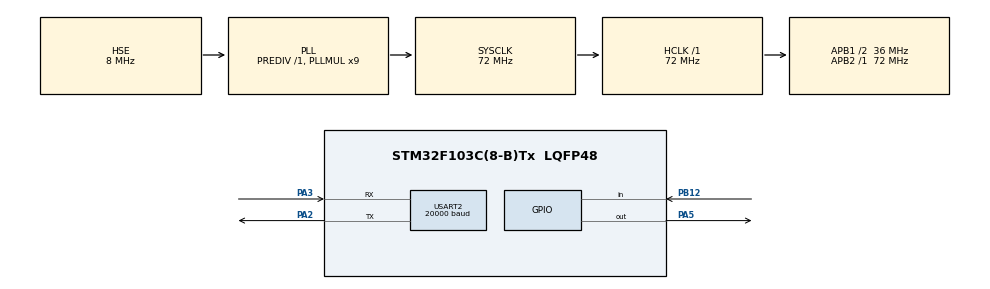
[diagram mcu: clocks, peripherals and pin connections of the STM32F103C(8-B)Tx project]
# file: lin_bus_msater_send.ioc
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Mcu.Family=STM32F1
Mcu.Name=STM32F103C(8-B)Tx
Mcu.Package=LQFP48
NVIC.PriorityGroup=NVIC_PRIORITYGROUP_4
PA13.Mode=Serial_Wire
PA13.Signal=SYS_JTMS-SWDIO
PA14.Mode=Serial_Wire
PA14.Signal=SYS_JTCK-SWCLK
PA2.Mode=LIN
PA2.Signal=USART2_TX
PA3.Mode=LIN
PA3.Signal=USART2_RX
PA5.Signal=GPIO_Output
PB12.Signal=GPIO_Input
PD0-OSC_IN.Mode=HSE-External-Oscillator
PD0-OSC_IN.Signal=RCC_OSC_IN
PD1-OSC_OUT.Mode=HSE-External-Oscillator
PD1-OSC_OUT.Signal=RCC_OSC_OUT
ProjectManager.HeapSize=0x200
ProjectManager.StackSize=0x400
ProjectManager.TargetToolchain=STM32CubeIDE
RCC.AHBFreq_Value=72000000
RCC.APB1CLKDivider=RCC_HCLK_DIV2
RCC.APB1Freq_Value=36000000
RCC.APB1TimFreq_Value=72000000
RCC.APB2Freq_Value=72000000
RCC.APB2TimFreq_Value=72000000
RCC.HCLKFreq_Value=72000000
RCC.PLLMUL=RCC_PLL_MUL9
RCC.PLLSourceVirtual=RCC_PLLSOURCE_HSE
RCC.SYSCLKFreq_VALUE=72000000
RCC.SYSCLKSource=RCC_SYSCLKSOURCE_PLLCLK
RCC.USBFreq_Value=72000000
USART2.BaudRate=20000
USART2.VirtualMode=VM_ASYNC
board=custom

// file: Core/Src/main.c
/* USER CODE BEGIN Header */
/**
  ******************************************************************************
  * @file           : main.c
  * @brief          : Main program body
  ******************************************************************************
  * @attention
  *
  * Copyright (c) 2023 STMicroelectronics.
  * All rights reserved.
  *
  * This software is licensed under terms that can be found in the LICENSE file
  * in the root directory of this software component.
  * If no LICENSE file comes with this software, it is provided AS-IS.
  *
  ******************************************************************************
  */
/* USER CODE END Header */
#include "main.h"

UART_HandleTypeDef huart2;

void SystemClock_Config(void);
static void MX_GPIO_Init(void);
static void MX_USART2_UART_Init(void);

/* USER CODE BEGIN 0 */

#define OPEN_LIN_MAX_FRAME_LENGTH 0x8u
#define OPEN_LIN_SYNCH_BYTE 0x55u
#define OPEN_LIN_GET_PID_BIT(x,y) (((x) >> (y)) & 0x01u)
#define OPEN_LIN_ID_MASK 0x3Fu
#define OPEN_LIN_P0_FLAG 6
#define OPEN_LIN_P1_FLAG 7

#define OPEN_LIN_DIAG_REQUEST 0x3C
#define OPEN_LIN_DIAG_RESPONSE 0x3D

typedef uint8_t open_lin_pid_t;
typedef uint8_t open_lin_checksum_t;
open_lin_pid_t open_lin_data_layer_parity(open_lin_pid_t pid) {
	open_lin_pid_t result = 0;
	result = (open_lin_pid_t)(OPEN_LIN_GET_PID_BIT(pid,0) ^ OPEN_LIN_GET_PID_BIT(pid,1) ^
			 OPEN_LIN_GET_PID_BIT(pid,2) ^ OPEN_LIN_GET_PID_BIT(pid,4)) << OPEN_LIN_P0_FLAG;

    result |= (open_lin_pid_t)(~(OPEN_LIN_GET_PID_BIT(pid,1) ^ OPEN_LIN_GET_PID_BIT(pid,3) ^
    			  OPEN_LIN_GET_PID_BIT(pid,4) ^ OPEN_LIN_GET_PID_BIT(pid,5)) << OPEN_LIN_P1_FLAG);

    result |= (open_lin_pid_t)(OPEN_LIN_ID_MASK & pid);
    return result;
}

open_lin_checksum_t open_lin_data_layer_checksum(open_lin_pid_t pid, uint8_t lenght, const uint8_t* data_ptr)
{
	uint8_t i = 0;
	uint16_t result;

	/* diagnostic request have classic checksum */
	if ((pid == OPEN_LIN_DIAG_REQUEST) || (pid == OPEN_LIN_DIAG_RESPONSE))
	{
		result = 0;
	} else {
		result = open_lin_data_layer_parity(pid);
	}

	for (i = 0; i < lenght; i++)
	{
		result += data_ptr[i];
		if (result > 0xFF)
		{
			result -= 0xFF;
		} else
		{
			/* do nothing */
		}
	}
	return (open_lin_checksum_t)(~result);
}

uint8_t open_lin_hw_tx_byte(uint8_t byte)
{
	HAL_UART_Transmit(&huart2, &byte, 1, 0xffff);
    return 1;

}

uint8_t open_lin_master_data_tx_data(uint8_t pid, uint8_t *data_ptr, uint8_t data_length)
{
	uint8_t i = 0;
	uint8_t result = 1;
	for (i = 0; i < data_length; i++)
	{
		result = (open_lin_hw_tx_byte(data_ptr[i])) && result;
	}

	result = (open_lin_hw_tx_byte(open_lin_data_layer_checksum(pid, data_length, data_ptr))) && result;
	return result;
}
/* USER CODE END 0 */

int main(void)
{
  /* USER CODE BEGIN 1 */
	uint32_t tm=0;
	uint8_t old_sw4=0;
	uint8_t sw4_cnt=0;
	uint8_t tmp=0;

	uint8_t sync = 0x55;
	uint8_t datas[5] = {0x11, 0x12, 0x13, 0x14, 0x15};

  /* USER CODE END 1 */

  /* MCU Configuration--------------------------------------------------------*/

  /* Reset of all peripherals, Initializes the Flash interface and the Systick. */
  HAL_Init();

  /* Configure the system clock */
  SystemClock_Config();

  /* Initialize all configured peripherals */
  MX_GPIO_Init();
  MX_USART2_UART_Init();
  /* USER CODE BEGIN 2 */
  HAL_GPIO_WritePin(GPIOA, GPIO_PIN_5, GPIO_PIN_SET);

  /* USER CODE END 2 */

  /* Infinite loop */
  /* USER CODE BEGIN WHILE */
  while (1)
  {
	  if(HAL_GetTick() - tm >= 10) {
		  tm = HAL_GetTick();
		  tmp = HAL_GPIO_ReadPin(GPIOB, GPIO_PIN_12);
		  if(old_sw4 != tmp) {
			  old_sw4 = tmp;
			  sw4_cnt = 3;
		  } else {
			  if(sw4_cnt) {
				  sw4_cnt--;
				  if(sw4_cnt == 0) {
					  //changed! and pushed
					  if(tmp == 0) {
						  HAL_LIN_SendBreak(&huart2);
						  HAL_UART_Transmit(&huart2, &sync, 1, 0xffff);
						  tmp = open_lin_data_layer_parity(0x02);
						  HAL_UART_Transmit(&huart2, &tmp, 1, 0xffff);
						  open_lin_master_data_tx_data(0x02, datas, 5);
					  }
				  }
			  }

		  }
	  }
    /* USER CODE END WHILE */

  }
}

void SystemClock_Config(void)
{
  RCC_OscInitTypeDef RCC_OscInitStruct = {0};
  RCC_ClkInitTypeDef RCC_ClkInitStruct = {0};

  /** Initializes the RCC Oscillators according to the specified parameters
  * in the RCC_OscInitTypeDef structure.
  */
  RCC_OscInitStruct.OscillatorType = RCC_OSCILLATORTYPE_HSE;
  RCC_OscInitStruct.HSEState = RCC_HSE_ON;
  RCC_OscInitStruct.HSEPredivValue = RCC_HSE_PREDIV_DIV1;
  RCC_OscInitStruct.HSIState = RCC_HSI_ON;
  RCC_OscInitStruct.PLL.PLLState = RCC_PLL_ON;
  RCC_OscInitStruct.PLL.PLLSource = RCC_PLLSOURCE_HSE;
  RCC_OscInitStruct.PLL.PLLMUL = RCC_PLL_MUL9;
  if (HAL_RCC_OscConfig(&RCC_OscInitStruct) != HAL_OK)
  {
    Error_Handler();
  }

  /** Initializes the CPU, AHB and APB buses clocks
  */
  RCC_ClkInitStruct.ClockType = RCC_CLOCKTYPE_HCLK|RCC_CLOCKTYPE_SYSCLK
                              |RCC_CLOCKTYPE_PCLK1|RCC_CLOCKTYPE_PCLK2;
  RCC_ClkInitStruct.SYSCLKSource = RCC_SYSCLKSOURCE_PLLCLK;
  RCC_ClkInitStruct.AHBCLKDivider = RCC_SYSCLK_DIV1;
  RCC_ClkInitStruct.APB1CLKDivider = RCC_HCLK_DIV2;
  RCC_ClkInitStruct.APB2CLKDivider = RCC_HCLK_DIV1;

  if (HAL_RCC_ClockConfig(&RCC_ClkInitStruct, FLASH_LATENCY_2) != HAL_OK)
  {
    Error_Handler();
  }
}

static void MX_USART2_UART_Init(void)
{

  huart2.Instance = USART2;
  huart2.Init.BaudRate = 20000;
  huart2.Init.WordLength = UART_WORDLENGTH_8B;
  huart2.Init.StopBits = UART_STOPBITS_1;
  huart2.Init.Parity = UART_PARITY_NONE;
  huart2.Init.Mode = UART_MODE_TX_RX;
  huart2.Init.HwFlowCtl = UART_HWCONTROL_NONE;
  if (HAL_LIN_Init(&huart2, UART_LINBREAKDETECTLENGTH_10B) != HAL_OK)
  {
    Error_Handler();
  }

}

static void MX_GPIO_Init(void)
{
  GPIO_InitTypeDef GPIO_InitStruct = {0};

  /* GPIO Ports Clock Enable */
  __HAL_RCC_GPIOD_CLK_ENABLE();
  __HAL_RCC_GPIOA_CLK_ENABLE();
  __HAL_RCC_GPIOB_CLK_ENABLE();

  /*Configure GPIO pin Output Level */
  HAL_GPIO_WritePin(GPIOA, GPIO_PIN_5, GPIO_PIN_RESET);

  /*Configure GPIO pin : PA5 */
  GPIO_InitStruct.Pin = GPIO_PIN_5;
  GPIO_InitStruct.Mode = GPIO_MODE_OUTPUT_PP;
  GPIO_InitStruct.Pull = GPIO_NOPULL;
  GPIO_InitStruct.Speed = GPIO_SPEED_FREQ_LOW;
  HAL_GPIO_Init(GPIOA, &GPIO_InitStruct);

  /*Configure GPIO pin : PB12 */
  GPIO_InitStruct.Pin = GPIO_PIN_12;
  GPIO_InitStruct.Mode = GPIO_MODE_INPUT;
  GPIO_InitStruct.Pull = GPIO_NOPULL;
  HAL_GPIO_Init(GPIOB, &GPIO_InitStruct);

}

void Error_Handler(void)
{
  __disable_irq();
  while (1)
  {
  }
}
